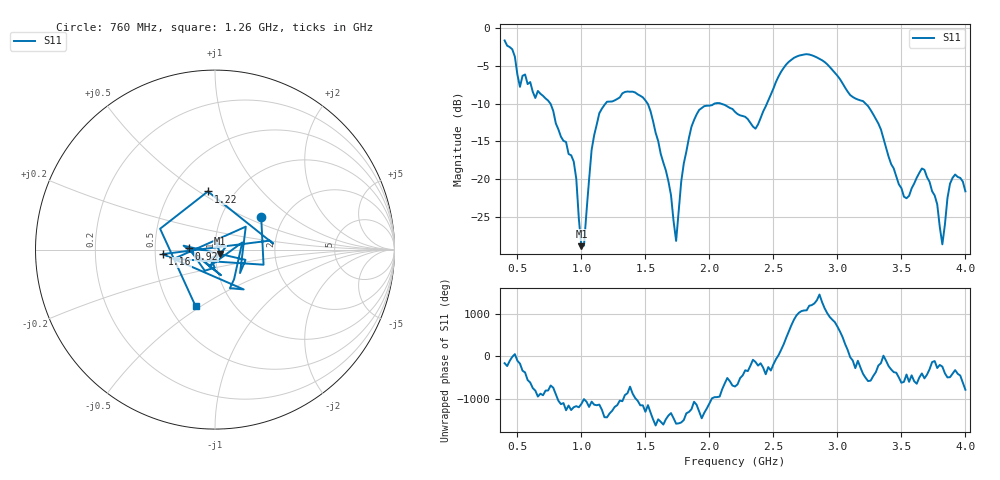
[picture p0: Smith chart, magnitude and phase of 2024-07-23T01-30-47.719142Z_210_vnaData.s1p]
!Created with skrf (http://scikit-rf.org).
# Hz S RI R 50.0
!freq ReS11 ImS11
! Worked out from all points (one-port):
!   181 points, 400 MHz to 4 GHz, reference 50 ohm
!   lowest |S11| = -28.9 dB at 1 GHz (marker M1), VSWR 1.07, Z = 52.8 - j2.37 ohm
!   |S11| at or under -10 dB: 758.1 MHz to 1.188 GHz (429.6 MHz wide, 44.2 % of centre); 1.518 GHz to 2.038 GHz (520.5 MHz wide, 29.3 % of centre); 3.221 GHz to end of sweep (the widest 3 of 4)
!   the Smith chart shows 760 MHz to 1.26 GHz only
!   S11 on the Smith chart (normalised r, x): 760 MHz: 1.54, +0.62; 920 MHz: 0.75, +0.01; 1.16 GHz: 0.55, -0.03; 1.22 GHz: 0.75, +0.55; 1.26 GHz: 0.67, -0.47
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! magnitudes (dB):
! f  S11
! 400 MHz  -1.6
! 520 MHz  -7.8
! 760 MHz  -10.0
! 860 MHz  -14.9
! 920 MHz  -16.8
! 960 MHz  -19.9
! 1 GHz  -28.9
! 1.02 GHz  -28.8
! 1.08 GHz  -16.1
! 1.16 GHz  -10.7
! 1.22 GHz  -9.7
! 1.26 GHz  -9.6
! 1.3 GHz  -9.2
! 1.52 GHz  -10.1
! 1.68 GHz  -20.3
! 1.74 GHz  -28.2
! 1.76 GHz  -24.3
! 1.8 GHz  -17.9
! 1.9 GHz  -11.4
! 2.2 GHz  -11.1
! 2.36 GHz  -13.3
! 2.66 GHz  -3.9
! 3.1 GHz  -8.9
! 3.56 GHz  -22.2
! 3.68 GHz  -18.8
! 3.82 GHz  -28.6
! 3.88 GHz  -20.6
! 4 GHz  -21.6
